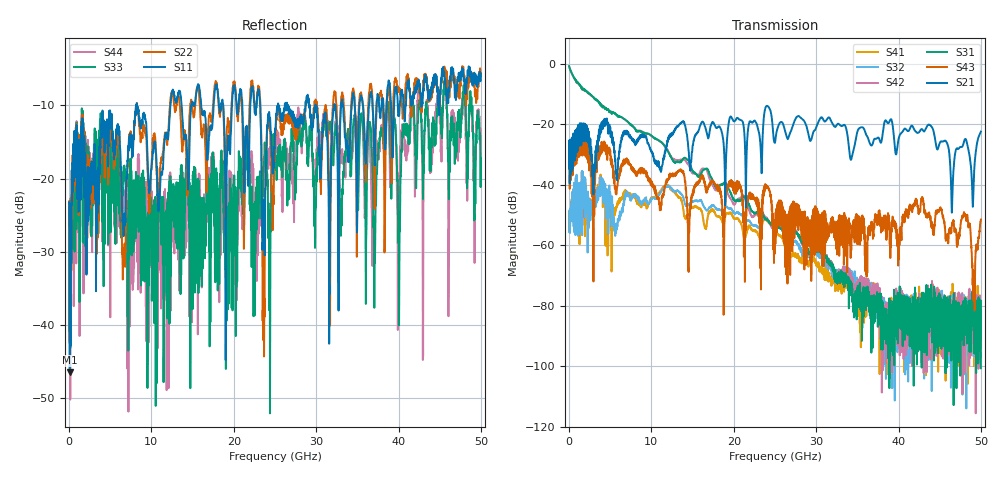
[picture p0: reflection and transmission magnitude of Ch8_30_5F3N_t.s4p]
!Agilent Technologies,N5247A,US51170199,A.09.90.13
!Agilent N5247A: A.09.90.13
!Date: Wednesday, December 16, 2015 10:17:04
!Correction: S11(Full 4 Port(1,2,3,4))
!S12(Full 4 Port(1,2,3,4))
!S13(Full 4 Port(1,2,3,4))
!S14(Full 4 Port(1,2,3,4))
!S21(Full 4 Port(1,2,3,4))
!S22(Full 4 Port(1,2,3,4))
!S23(Full 4 Port(1,2,3,4))
!S24(Full 4 Port(1,2,3,4))
!S31(Full 4 Port(1,2,3,4))
!S32(Full 4 Port(1,2,3,4))
!S33(Full 4 Port(1,2,3,4))
!S34(Full 4 Port(1,2,3,4))
!S41(Full 4 Port(1,2,3,4))
!S42(Full 4 Port(1,2,3,4))
!S43(Full 4 Port(1,2,3,4))
!S44(Full 4 Port(1,2,3,4))
!S4P File: Measurements: <S11,S12,S13,S14>,
!<S21,S22,S23,S24>,
!<S31,S32,S33,S34>,
!<S41,S42,S43,S44>:
# Hz S  dB  R 50
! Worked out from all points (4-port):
!   3201 points, 10 MHz to 50 GHz, reference 50 ohm
!   strongest paths, dB at 10 MHz, 12.51 GHz, 25 GHz, 37.5 GHz, 50 GHz:
!     S21: -34.4, -23.4, -26.0, -24.3, -22.4
!     S43: -34.7, -36.5, -51.5, -50.1, -51.5
!     S31: -0.7, -31.5, -53.6, -78.7, -100.7
!     S42: -0.7, -31.1, -53.8, -78.2, -87.8
!     S32: -55.6, -41.7, -53.5, -73.6, -79.9
!     S41: -55.2, -42.0, -55.2, -80.0, -91.5
!   lowest |S11| = -46.5 dB at 88.11 MHz (marker M1), VSWR 1.01, Z = 50.4 - j0.164 ohm
!   |S11| at or under -10 dB: start of sweep to 8.124 GHz; 8.252 GHz to 12.29 GHz (4.042 GHz wide, 39.3 % of centre); 29.94 GHz to 32.2 GHz (2.258 GHz wide, 7.27 % of centre)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
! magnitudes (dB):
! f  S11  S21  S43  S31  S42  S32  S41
! 10 MHz  -23.3  -34.4  -34.7  -0.7  -0.7  -55.6  -55.2
! 88.11 MHz  -46.5  -39.6  -41.3  -1.5  -1.5  -49.9  -49.8
! 12.01 GHz  -14.6  -25.5  -38.2  -28.9  -28.5  -40.4  -40.0
! 22.99 GHz  -8.0  -22.0  -47.0  -49.1  -49.5  -54.2  -56.6
! 23.63 GHz  -24.5  -18.3  -42.9  -50.2  -49.9  -50.8  -51.8
! 34.66 GHz  -9.6  -27.1  -54.0  -77.2  -74.0  -72.6  -74.3
! 50 GHz  -5.7  -22.4  -51.5  -100.7  -87.8  -79.9  -91.5
